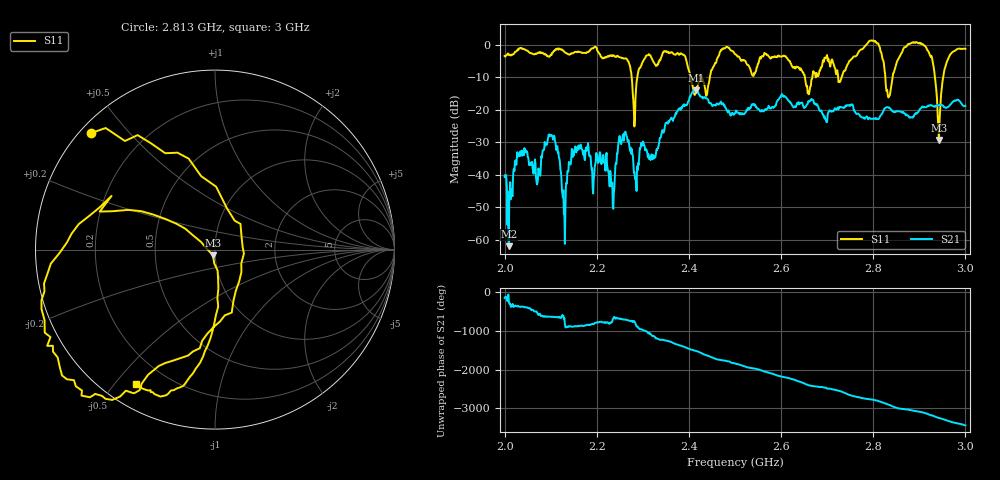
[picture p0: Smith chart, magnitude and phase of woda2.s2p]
! PocketVna 1.81  pocketvna.com
! Live measurements ((Reflection-S11, Transmission-S21) Logarithmic 2000000000-3000000000/801 calibrated)
# GHz S DB R 50
! GHz  dBS11  <S11  dBS21  <S21  dBS12  <S12  dBS22  <S22
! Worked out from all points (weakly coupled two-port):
!   801 points, 2 GHz to 3 GHz, reference 50 ohm
!   highest |S21| = -14.04 dB at 2.416 GHz (marker M1); lowest = -62.0 dB at 2.009 GHz (marker M2)
!   lowest |S11| = -29.3 dB at 2.943 GHz (marker M3), VSWR 1.07, Z = 48.8 - j3.19 ohm
!   |S11| at or under -10 dB: 2.404 GHz to 2.423 GHz (19.81 MHz wide, 0.821 % of centre); 2.428 GHz to 2.445 GHz (17.22 MHz wide, 0.707 % of centre); 2.934 GHz to 2.952 GHz (17.73 MHz wide, 0.602 % of centre) (the widest 3 of 8)
!   S12 and S22 are empty: the file has one direction only
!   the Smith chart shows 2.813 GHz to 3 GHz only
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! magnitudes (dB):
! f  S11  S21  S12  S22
! 2 GHz  -3.4  -40.7  -  -
! 2.009 GHz  -3.2  -62.0  -  -
! 2.031 GHz  -1.2  -33.6  -  -
! 2.073 GHz  -2.4  -38.1  -  -
! 2.104 GHz  -2.5  -28.3  -  -
! 2.129 GHz  -2.0  -52.1  -  -
! 2.167 GHz  -2.3  -31.8  -  -
! 2.235 GHz  -3.3  -49.7  -  -
! 2.26 GHz  -4.2  -27.3  -  -
! 2.282 GHz  -25.1  -39.1  -  -
! 2.304 GHz  -4.3  -31.1  -  -
! 2.334 GHz  -5.2  -30.8  -  -
! 2.387 GHz  -3.1  -18.6  -  -
! 2.416 GHz  -13.7  -14.0  -  -
! 2.501 GHz  -2.9  -20.9  -  -
! 2.667 GHz  -10.5  -16.9  -  -
! 2.799 GHz  1.2  -22.8  -  -
! 2.834 GHz  -15.8  -19.3  -  -
! 2.9 GHz  0.4  -20.1  -  -
! 2.943 GHz  -29.3  -18.7  -  -
! 2.964 GHz  -3.9  -19.0  -  -
! 3 GHz  -1.2  -18.8  -  -
